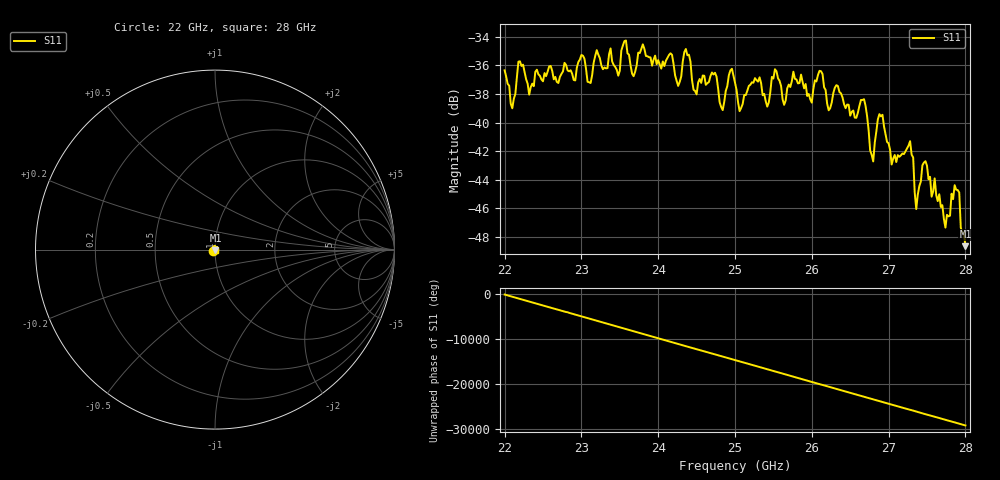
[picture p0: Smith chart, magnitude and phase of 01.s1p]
#  HZ  S  RI  R  50.00
! Rohde & Schwarz ZVA40 4Ports - Version 3.90 - 1145.1110k42 SN: 100403
! Date: 2023-10-04 10:11:20
! Measurement: S12
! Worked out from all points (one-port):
!   301 points, 22 GHz to 28 GHz, reference 50 ohm
!   lowest |S11| = -48.6 dB at 28 GHz (marker M1), VSWR 1.01, Z = 50.3 - j0.252 ohm
!   |S11| at or under -10 dB: start of sweep to end of sweep
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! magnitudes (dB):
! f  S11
! 22 GHz  -36.3
! 22.1 GHz  -39.0
! 22.18 GHz  -35.7
! 22.32 GHz  -38.0
! 22.76 GHz  -36.4
! 23.5 GHz  -36.4
! 23.8 GHz  -34.5
! 24.26 GHz  -37.4
! 24.36 GHz  -34.8
! 24.5 GHz  -38.0
! 25 GHz  -37.3
! 25.06 GHz  -39.2
! 25.42 GHz  -38.9
! 25.52 GHz  -36.3
! 25.64 GHz  -38.8
! 25.76 GHz  -36.4
! 26.5 GHz  -39.5
! 26.68 GHz  -38.4
! 26.8 GHz  -42.7
! 26.88 GHz  -39.4
! 27.04 GHz  -42.9
! 27.26 GHz  -41.6
! 27.32 GHz  -42.4
! 27.36 GHz  -46.0
! 27.48 GHz  -42.7
! 27.74 GHz  -47.3
! 27.92 GHz  -44.9
! 28 GHz  -48.6
